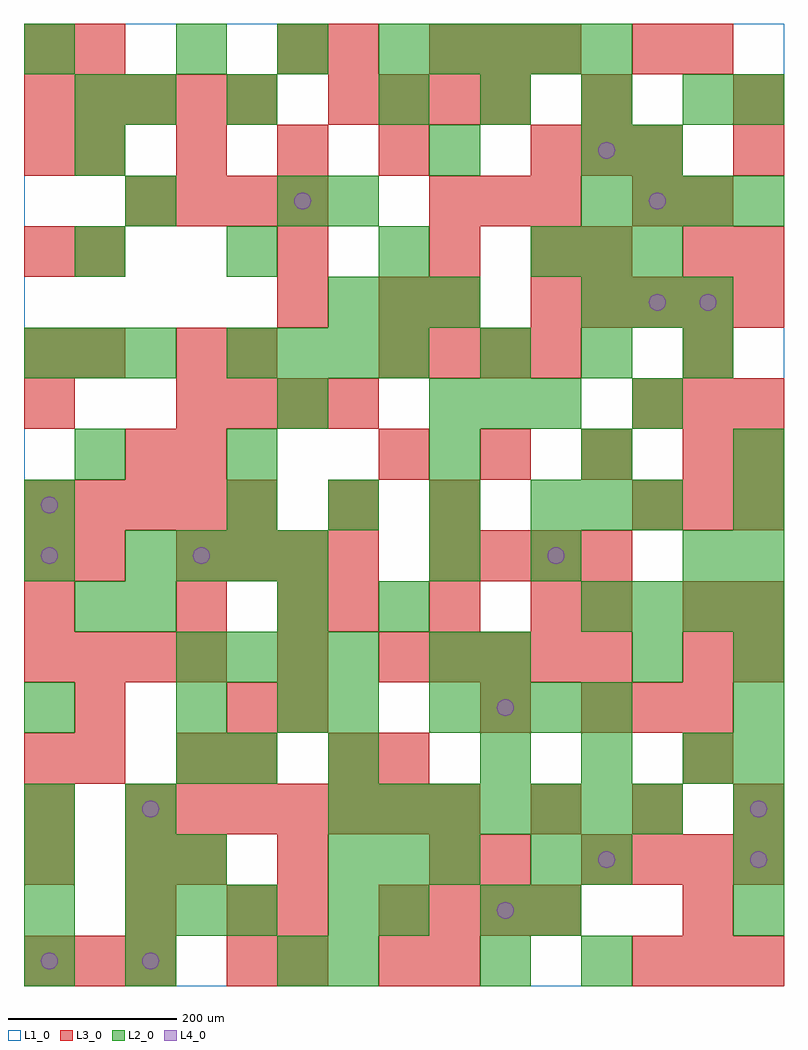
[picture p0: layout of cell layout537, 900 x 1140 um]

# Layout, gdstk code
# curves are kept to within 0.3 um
import gdstk
lib = gdstk.Library(unit=1e-6, precision=1e-09)
def R(c, l, rs):  # rectangles x0, y0, x1, y1
    for r in rs: c.add(gdstk.rectangle(r[:2], r[2:], *l))
def A(c, l, x, y, w, h, nx, ny, dx, dy):  # array of equal rectangles
    R(c, l, [(x+i*dx, y+j*dy, x+i*dx+w, y+j*dy+h) for i in range(nx) for j in range(ny)])
def P(c, l, *ps):  # polygons
    for p in ps: c.add(gdstk.Polygon(p, *l))
L1_0 = (1, 0)
L2_0 = (2, 0)
L3_0 = (3, 0)
L4_0 = (4, 0)

layout537 = lib.new_cell('layout537')
R(layout537, L1_0, [(0,0,900,1140)])
A(layout537, L2_0, 0, 0, 60, 60, 1, 4, 0, 60)
A(layout537, L2_0, 120, 60, 60, 60, 3, 1, 60, 0)
A(layout537, L2_0, 840, 60, 60, 60, 1, 6, 0, 60)
A(layout537, L2_0, 360, 120, 60, 60, 3, 2, 60, 660)
A(layout537, L2_0, 360, 180, 60, 60, 7, 1, 60, 0)
A(layout537, L2_0, 540, 240, 60, 60, 3, 2, 120, 480)
A(layout537, L2_0, 480, 300, 60, 60, 4, 2, 60, 780)
A(layout537, L2_0, 180, 360, 60, 60, 4, 1, 60, 0)
A(layout537, L2_0, 300, 420, 60, 60, 1, 3, 0, 240)
A(layout537, L2_0, 660, 420, 60, 60, 4, 2, 60, 480)
A(layout537, L2_0, 120, 480, 60, 60, 4, 1, 60, 0)
A(layout537, L2_0, 240, 540, 60, 60, 4, 1, 120, 0)
A(layout537, L2_0, 480, 600, 60, 60, 3, 1, 180, 0)
A(layout537, L2_0, 480, 660, 60, 60, 3, 1, 60, 0)
A(layout537, L2_0, 0, 720, 60, 60, 3, 1, 60, 0)
A(layout537, L2_0, 240, 720, 60, 60, 4, 1, 60, 0)
A(layout537, L2_0, 660, 780, 60, 60, 3, 1, 60, 0)
A(layout537, L2_0, 60, 840, 60, 60, 4, 1, 180, 0)
A(layout537, L2_0, 420, 1020, 60, 60, 4, 1, 120, 0)
A(layout537, L2_0, 180, 1080, 60, 60, 3, 1, 120, 0)
R(layout537, L2_0, [(120,0,180,60), (300,0,360,60), (360,0,420,60), (540,0,600,60), (660,0,720,60), (360,60,420,120), (420,60,480,120), (540,60,600,120), (600,60,660,120), (120,120,180,180), (180,120,240,180), (600,120,660,180), (660,120,720,180), (120,180,180,240), (180,240,240,300), (240,240,300,300), (360,240,420,300), (0,300,60,360), (180,300,240,360), (300,300,360,360), (360,300,420,360), (480,360,540,420), (540,360,600,420), (720,360,780,420), (60,420,120,480), (120,420,180,480), (420,420,480,480), (0,480,60,540), (480,480,540,540), (600,480,660,540), (780,480,840,540), (840,480,900,540), (0,540,60,600), (660,540,720,600), (720,540,780,600), (840,540,900,600), (60,600,120,660), (240,600,300,660), (720,660,780,720), (660,840,720,900), (720,840,780,900), (120,900,180,960), (360,900,420,960), (60,960,120,1020), (480,960,540,1020), (660,960,720,1020), (720,960,780,1020), (60,1020,120,1080), (120,1020,180,1080), (240,1020,300,1080), (840,1020,900,1080), (0,1080,60,1140)])
A(layout537, L3_0, 0, 0, 60, 60, 3, 1, 60, 0)
A(layout537, L3_0, 300, 0, 60, 60, 1, 3, 0, 60)
A(layout537, L3_0, 720, 0, 60, 60, 3, 2, 60, 540)
A(layout537, L3_0, 420, 60, 60, 60, 4, 2, 60, 660)
A(layout537, L3_0, 0, 120, 60, 60, 1, 3, 0, 60)
A(layout537, L3_0, 660, 120, 60, 60, 4, 1, 60, 0)
A(layout537, L3_0, 120, 180, 60, 60, 7, 1, 60, 0)
A(layout537, L3_0, 600, 180, 60, 60, 3, 1, 120, 0)
A(layout537, L3_0, 180, 240, 60, 60, 1, 3, 0, 180)
A(layout537, L3_0, 300, 300, 60, 60, 1, 3, 0, 60)
A(layout537, L3_0, 660, 300, 60, 60, 3, 1, 60, 0)
A(layout537, L3_0, 0, 360, 60, 60, 4, 1, 60, 0)
A(layout537, L3_0, 420, 360, 60, 60, 5, 1, 60, 0)
A(layout537, L3_0, 360, 420, 60, 60, 3, 1, 120, 0)
A(layout537, L3_0, 180, 480, 60, 60, 4, 2, 60, 180)
A(layout537, L3_0, 480, 480, 60, 60, 4, 1, 60, 0)
A(layout537, L3_0, 0, 540, 60, 60, 5, 2, 60, 480)
A(layout537, L3_0, 420, 600, 60, 60, 4, 1, 120, 0)
A(layout537, L3_0, 720, 660, 60, 60, 3, 1, 60, 0)
A(layout537, L3_0, 0, 720, 60, 60, 1, 4, 0, 120)
A(layout537, L3_0, 600, 780, 60, 60, 5, 1, 60, 0)
A(layout537, L3_0, 120, 900, 60, 60, 4, 1, 60, 0)
A(layout537, L3_0, 480, 900, 60, 60, 3, 2, 60, 180)
A(layout537, L3_0, 60, 960, 60, 60, 4, 1, 120, 0)
A(layout537, L3_0, 600, 960, 60, 60, 3, 1, 60, 0)
A(layout537, L3_0, 360, 1020, 60, 60, 4, 1, 60, 0)
R(layout537, L3_0, [(240,0,300,60), (420,0,480,60), (480,0,540,60), (120,60,180,120), (240,60,300,120), (780,60,840,120), (120,120,180,180), (180,120,240,180), (480,120,540,180), (540,120,600,180), (60,240,120,300), (240,240,300,300), (360,240,420,300), (420,240,480,300), (780,240,840,300), (60,300,120,360), (240,300,300,360), (540,300,600,360), (780,360,840,420), (840,360,900,420), (0,420,60,480), (660,420,720,480), (780,420,840,480), (840,420,900,480), (0,480,60,540), (60,480,120,540), (360,540,420,600), (480,540,540,600), (120,600,180,660), (840,600,900,660), (0,660,60,720), (60,720,120,780), (180,720,240,780), (240,720,300,780), (780,720,840,780), (300,780,360,840), (420,780,480,840), (480,780,540,840), (60,840,120,900), (300,840,360,900), (480,840,540,900), (600,840,660,900), (660,840,720,900), (780,840,840,900), (840,840,900,900), (720,900,780,960), (780,900,840,960), (840,960,900,1020), (660,1020,720,1080), (840,1020,900,1080), (60,1080,120,1140), (300,1080,360,1140), (360,1080,420,1140), (720,1080,780,1140), (780,1080,840,1140)])
P(layout537, L4_0, [(40,30),(39.239,33.827),(37.071,37.071),(33.827,39.239),(30,40),(26.173,39.239),(22.929,37.071),(20.761,33.827),(20,30),(20.761,26.173),(22.929,22.929),(26.173,20.761),(30,20),(33.827,20.761),(37.071,22.929),(39.239,26.173)],
  [(40,510),(39.239,513.827),(37.071,517.071),(33.827,519.239),(30,520),(26.173,519.239),(22.929,517.071),(20.761,513.827),(20,510),(20.761,506.173),(22.929,502.929),(26.173,500.761),(30,500),(33.827,500.761),(37.071,502.929),(39.239,506.173)],
  [(40,570),(39.239,573.827),(37.071,577.071),(33.827,579.239),(30,580),(26.173,579.239),(22.929,577.071),(20.761,573.827),(20,570),(20.761,566.173),(22.929,562.929),(26.173,560.761),(30,560),(33.827,560.761),(37.071,562.929),(39.239,566.173)],
  [(160,30),(159.239,33.827),(157.071,37.071),(153.827,39.239),(150,40),(146.173,39.239),(142.929,37.071),(140.761,33.827),(140,30),(140.761,26.173),(142.929,22.929),(146.173,20.761),(150,20),(153.827,20.761),(157.071,22.929),(159.239,26.173)],
  [(160,210),(159.239,213.827),(157.071,217.071),(153.827,219.239),(150,220),(146.173,219.239),(142.929,217.071),(140.761,213.827),(140,210),(140.761,206.173),(142.929,202.929),(146.173,200.761),(150,200),(153.827,200.761),(157.071,202.929),(159.239,206.173)],
  [(220,510),(219.239,513.827),(217.071,517.071),(213.827,519.239),(210,520),(206.173,519.239),(202.929,517.071),(200.761,513.827),(200,510),(200.761,506.173),(202.929,502.929),(206.173,500.761),(210,500),(213.827,500.761),(217.071,502.929),(219.239,506.173)],
  [(340,930),(339.239,933.827),(337.071,937.071),(333.827,939.239),(330,940),(326.173,939.239),(322.929,937.071),(320.761,933.827),(320,930),(320.761,926.173),(322.929,922.929),(326.173,920.761),(330,920),(333.827,920.761),(337.071,922.929),(339.239,926.173)],
  [(580,90),(579.239,93.827),(577.071,97.071),(573.827,99.239),(570,100),(566.173,99.239),(562.929,97.071),(560.761,93.827),(560,90),(560.761,86.173),(562.929,82.929),(566.173,80.761),(570,80),(573.827,80.761),(577.071,82.929),(579.239,86.173)],
  [(580,330),(579.239,333.827),(577.071,337.071),(573.827,339.239),(570,340),(566.173,339.239),(562.929,337.071),(560.761,333.827),(560,330),(560.761,326.173),(562.929,322.929),(566.173,320.761),(570,320),(573.827,320.761),(577.071,322.929),(579.239,326.173)],
  [(640,510),(639.239,513.827),(637.071,517.071),(633.827,519.239),(630,520),(626.173,519.239),(622.929,517.071),(620.761,513.827),(620,510),(620.761,506.173),(622.929,502.929),(626.173,500.761),(630,500),(633.827,500.761),(637.071,502.929),(639.239,506.173)],
  [(700,150),(699.239,153.827),(697.071,157.071),(693.827,159.239),(690,160),(686.173,159.239),(682.929,157.071),(680.761,153.827),(680,150),(680.761,146.173),(682.929,142.929),(686.173,140.761),(690,140),(693.827,140.761),(697.071,142.929),(699.239,146.173)],
  [(700,990),(699.239,993.827),(697.071,997.071),(693.827,999.239),(690,1000),(686.173,999.239),(682.929,997.071),(680.761,993.827),(680,990),(680.761,986.173),(682.929,982.929),(686.173,980.761),(690,980),(693.827,980.761),(697.071,982.929),(699.239,986.173)],
  [(760,810),(759.239,813.827),(757.071,817.071),(753.827,819.239),(750,820),(746.173,819.239),(742.929,817.071),(740.761,813.827),(740,810),(740.761,806.173),(742.929,802.929),(746.173,800.761),(750,800),(753.827,800.761),(757.071,802.929),(759.239,806.173)],
  [(760,930),(759.239,933.827),(757.071,937.071),(753.827,939.239),(750,940),(746.173,939.239),(742.929,937.071),(740.761,933.827),(740,930),(740.761,926.173),(742.929,922.929),(746.173,920.761),(750,920),(753.827,920.761),(757.071,922.929),(759.239,926.173)],
  [(820,810),(819.239,813.827),(817.071,817.071),(813.827,819.239),(810,820),(806.173,819.239),(802.929,817.071),(800.761,813.827),(800,810),(800.761,806.173),(802.929,802.929),(806.173,800.761),(810,800),(813.827,800.761),(817.071,802.929),(819.239,806.173)],
  [(880,150),(879.239,153.827),(877.071,157.071),(873.827,159.239),(870,160),(866.173,159.239),(862.929,157.071),(860.761,153.827),(860,150),(860.761,146.173),(862.929,142.929),(866.173,140.761),(870,140),(873.827,140.761),(877.071,142.929),(879.239,146.173)],
  [(880,210),(879.239,213.827),(877.071,217.071),(873.827,219.239),(870,220),(866.173,219.239),(862.929,217.071),(860.761,213.827),(860,210),(860.761,206.173),(862.929,202.929),(866.173,200.761),(870,200),(873.827,200.761),(877.071,202.929),(879.239,206.173)])

lib.write_gds('layout537.gds')
